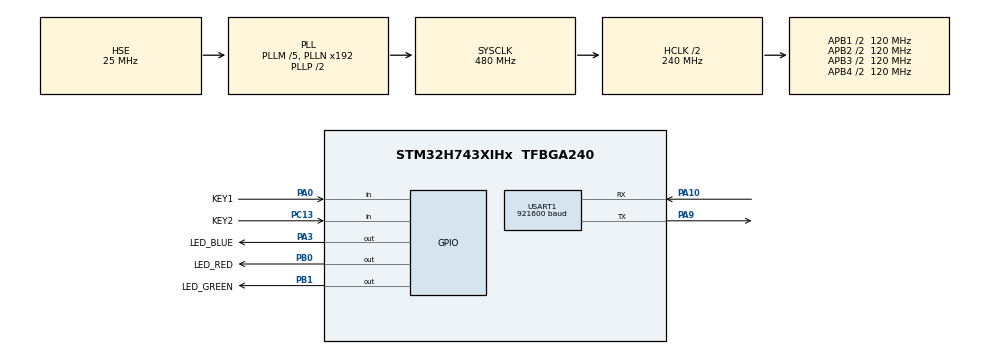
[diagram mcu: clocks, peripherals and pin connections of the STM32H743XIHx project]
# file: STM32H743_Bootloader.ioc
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CORTEX_M7.default_mode_Activation=0
CRC.DefaultInitValueUse=DEFAULT_INIT_VALUE_DISABLE
CRC.DefaultPolynomialUse=DEFAULT_POLYNOMIAL_DISABLE
CRC.InitValue=0xFFFFFFFF
CRC.InputDataFormat=CRC_INPUTDATA_FORMAT_WORDS
CRC.InputDataInversionMode=CRC_INPUTDATA_INVERSION_NONE
CRC.OutputDataInversionMode=CRC_OUTPUTDATA_INVERSION_DISABLE
FREERTOS.Tasks01=taskDefault,0,128,TaskDefault,Default,NULL,Dynamic,NULL,NULL;taskIAP,-2,1024,TaskIAP,Default,NULL,Dynamic,NULL,NULL;taskKEY1,-3,128,TaskKEY1,Default,NULL,Dynamic,NULL,NULL
FREERTOS.configENABLE_FPU=1
Mcu.Family=STM32H7
Mcu.Name=STM32H743XIHx
Mcu.Package=TFBGA240
NVIC.PriorityGroup=NVIC_PRIORITYGROUP_4
NVIC.TIM6_DAC_IRQn=true\:15\:0\:false\:false\:true\:false\:false\:true\:true
NVIC.TimeBase=TIM6_DAC_IRQn
NVIC.TimeBaseIP=TIM6
PA0.GPIO_Label=KEY1
PA0.Signal=GPIO_Input
PA10.Mode=Asynchronous
PA10.Signal=USART1_RX
PA13\ (JTMS/SWDIO).Mode=Serial_Wire
PA13\ (JTMS/SWDIO).Signal=DEBUG_JTMS-SWDIO
PA14\ (JTCK/SWCLK).Mode=Serial_Wire
PA14\ (JTCK/SWCLK).Signal=DEBUG_JTCK-SWCLK
PA3.GPIO_Label=LED_BLUE
PA3.GPIO_PuPd=GPIO_PULLUP
PA3.PinState=GPIO_PIN_SET
PA3.Signal=GPIO_Output
PA9.Mode=Asynchronous
PA9.Signal=USART1_TX
PB0.GPIO_Label=LED_RED
PB0.GPIO_PuPd=GPIO_PULLUP
PB0.PinState=GPIO_PIN_SET
PB0.Signal=GPIO_Output
PB1.GPIO_Label=LED_GREEN
PB1.GPIO_PuPd=GPIO_PULLUP
PB1.PinState=GPIO_PIN_SET
PB1.Signal=GPIO_Output
PB14.Signal=USB_OTG_HS_DM
PB15.Signal=USB_OTG_HS_DP
PC13.GPIO_Label=KEY2
PC13.Signal=GPIO_Input
PH0-OSC_IN\ (PH0).Mode=HSE-External-Oscillator
PH0-OSC_IN\ (PH0).Signal=RCC_OSC_IN
PH1-OSC_OUT\ (PH1).Mode=HSE-External-Oscillator
PH1-OSC_OUT\ (PH1).Signal=RCC_OSC_OUT
ProjectManager.HeapSize=0x2000
ProjectManager.StackSize=0x4000
ProjectManager.TargetToolchain=EWARM V8.50
RCC.ADCFreq_Value=50390625
RCC.APB1Freq_Value=120000000
RCC.APB2Freq_Value=120000000
RCC.APB3Freq_Value=120000000
RCC.APB4Freq_Value=120000000
RCC.CortexFreq_Value=480000000
RCC.D1PPRE=RCC_APB3_DIV2
RCC.D2PPRE1=RCC_APB1_DIV2
RCC.D2PPRE2=RCC_APB2_DIV2
RCC.D3PPRE=RCC_APB4_DIV2
RCC.DIVM1=5
RCC.DIVN1=192
RCC.HCLKFreq_Value=240000000
RCC.HPRE=RCC_HCLK_DIV2
RCC.PLLFRACN=0
RCC.PLLSourceVirtual=RCC_PLLSOURCE_HSE
RCC.SYSCLKFreq_VALUE=480000000
RCC.SYSCLKSource=RCC_SYSCLKSOURCE_PLLCLK
RCC.USBCLockSelection=RCC_USBCLKSOURCE_HSI48
RCC.USBFreq_Value=48000000
USART1.BaudRate=921600
USART1.VirtualMode-Asynchronous=VM_ASYNC
VP_CRC_VS_CRC.Mode=CRC_Activate
VP_FREERTOS_VS_CMSIS_V1.Mode=CMSIS_V1
VP_SYS_VS_tim6.Mode=TIM6
board=custom

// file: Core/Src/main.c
/* USER CODE BEGIN Header */
/**
 ******************************************************************************
 * @file           : main.c
 * @brief          : Main program body
 ******************************************************************************
 * @attention
 *
 * Copyright (c) 2024 STMicroelectronics.
 * All rights reserved.
 *
 * This software is licensed under terms that can be found in the LICENSE file
 * in the root directory of this software component.
 * If no LICENSE file comes with this software, it is provided AS-IS.
 *
 ******************************************************************************
 */
/* USER CODE END Header */
#include "main.h"
#include "cmsis_os.h"
#include "crc.h"
#include "usart.h"
#include "gpio.h"

/* USER CODE BEGIN Includes */
#include "Bootloader.h"
/* USER CODE END Includes */

void SystemClock_Config(void);
void MX_FREERTOS_Init(void);

int main(void)
{
  /* USER CODE BEGIN 1 */
  SCB->VTOR=FLASH_BASE|0x08000000;
  /* USER CODE END 1 */

  /* MCU Configuration--------------------------------------------------------*/

  /* Reset of all peripherals, Initializes the Flash interface and the Systick. */
  HAL_Init();

  /* Configure the system clock */
  SystemClock_Config();

  /* Initialize all configured peripherals */
  MX_GPIO_Init();
  MX_CRC_Init();
  MX_USART1_UART_Init();
  /* USER CODE BEGIN 2 */
    BootRun();
    /*
    for (uint8_t i = 0; i < 8; i++)
    {
        Ymodem_FlashErase(0x08100000+ i * 0x10000);
    }
    */
    // uint8_t flashdata[]="abcdefg";
    // Ymodem_FlashErase(0x08100000);
    // Ymodem_FlashWrite(0x08100000, flashdata, sizeof(flashdata));

  /* USER CODE END 2 */

  /* Call init function for freertos objects (in freertos.c) */
  MX_FREERTOS_Init();

  /* Start scheduler */
  osKernelStart();

  /* We should never get here as control is now taken by the scheduler */
  /* Infinite loop */
    while (1)
    {

    }
}

void SystemClock_Config(void)
{
  RCC_OscInitTypeDef RCC_OscInitStruct = {0};
  RCC_ClkInitTypeDef RCC_ClkInitStruct = {0};

  /** Supply configuration update enable
  */
  HAL_PWREx_ConfigSupply(PWR_LDO_SUPPLY);

  /** Configure the main internal regulator output voltage
  */
  __HAL_PWR_VOLTAGESCALING_CONFIG(PWR_REGULATOR_VOLTAGE_SCALE1);

  while(!__HAL_PWR_GET_FLAG(PWR_FLAG_VOSRDY)) {}

  __HAL_RCC_SYSCFG_CLK_ENABLE();
  __HAL_PWR_VOLTAGESCALING_CONFIG(PWR_REGULATOR_VOLTAGE_SCALE0);

  while(!__HAL_PWR_GET_FLAG(PWR_FLAG_VOSRDY)) {}

  /** Initializes the RCC Oscillators according to the specified parameters
  * in the RCC_OscInitTypeDef structure.
  */
  RCC_OscInitStruct.OscillatorType = RCC_OSCILLATORTYPE_HSE;
  RCC_OscInitStruct.HSEState = RCC_HSE_ON;
  RCC_OscInitStruct.PLL.PLLState = RCC_PLL_ON;
  RCC_OscInitStruct.PLL.PLLSource = RCC_PLLSOURCE_HSE;
  RCC_OscInitStruct.PLL.PLLM = 5;
  RCC_OscInitStruct.PLL.PLLN = 192;
  RCC_OscInitStruct.PLL.PLLP = 2;
  RCC_OscInitStruct.PLL.PLLQ = 2;
  RCC_OscInitStruct.PLL.PLLR = 2;
  RCC_OscInitStruct.PLL.PLLRGE = RCC_PLL1VCIRANGE_2;
  RCC_OscInitStruct.PLL.PLLVCOSEL = RCC_PLL1VCOWIDE;
  RCC_OscInitStruct.PLL.PLLFRACN = 0;
  if (HAL_RCC_OscConfig(&RCC_OscInitStruct) != HAL_OK)
  {
    Error_Handler();
  }

  /** Initializes the CPU, AHB and APB buses clocks
  */
  RCC_ClkInitStruct.ClockType = RCC_CLOCKTYPE_HCLK|RCC_CLOCKTYPE_SYSCLK
                              |RCC_CLOCKTYPE_PCLK1|RCC_CLOCKTYPE_PCLK2
                              |RCC_CLOCKTYPE_D3PCLK1|RCC_CLOCKTYPE_D1PCLK1;
  RCC_ClkInitStruct.SYSCLKSource = RCC_SYSCLKSOURCE_PLLCLK;
  RCC_ClkInitStruct.SYSCLKDivider = RCC_SYSCLK_DIV1;
  RCC_ClkInitStruct.AHBCLKDivider = RCC_HCLK_DIV2;
  RCC_ClkInitStruct.APB3CLKDivider = RCC_APB3_DIV2;
  RCC_ClkInitStruct.APB1CLKDivider = RCC_APB1_DIV2;
  RCC_ClkInitStruct.APB2CLKDivider = RCC_APB2_DIV2;
  RCC_ClkInitStruct.APB4CLKDivider = RCC_APB4_DIV2;

  if (HAL_RCC_ClockConfig(&RCC_ClkInitStruct, FLASH_LATENCY_4) != HAL_OK)
  {
    Error_Handler();
  }
}

void HAL_TIM_PeriodElapsedCallback(TIM_HandleTypeDef *htim)
{
  if (htim->Instance == TIM6) {
    HAL_IncTick();
  }
}

void Error_Handler(void)
{
    __disable_irq();
    while (1)
    {
    }
}

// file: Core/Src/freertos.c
/* USER CODE BEGIN Header */
/**
 ******************************************************************************
 * File Name          : freertos.c
 * Description        : Code for freertos applications
 ******************************************************************************
 * @attention
 *
 * Copyright (c) 2024 STMicroelectronics.
 * All rights reserved.
 *
 * This software is licensed under terms that can be found in the LICENSE file
 * in the root directory of this software component.
 * If no LICENSE file comes with this software, it is provided AS-IS.
 *
 ******************************************************************************
 */
/* USER CODE END Header */

#include "FreeRTOS.h"
#include "task.h"
#include "main.h"
#include "cmsis_os.h"

/* USER CODE BEGIN Includes */
#include "gpio.h"
#include "usart.h"
#include "stdio.h"
#include "stdlib.h"
#include "string.h"

#include "ymodem.h"
#include "Bootloader.h"
/* USER CODE END Includes */

/* USER CODE BEGIN PTD */

#define B 1
#define R 0
#define LED R
/* USER CODE END PTD */

osThreadId taskDefaultHandle;
osThreadId taskIAPHandle;
osThreadId taskKEY1Handle;

void TaskDefault(void const *argument);
void TaskIAP(void const *argument);
void TaskKEY1(void const *argument);

void MX_FREERTOS_Init(void); /* (MISRA C 2004 rule 8.1) */

/* GetIdleTaskMemory prototype (linked to static allocation support) */
void vApplicationGetIdleTaskMemory(StaticTask_t **ppxIdleTaskTCBBuffer, StackType_t **ppxIdleTaskStackBuffer, uint32_t *pulIdleTaskStackSize);

/* USER CODE BEGIN GET_IDLE_TASK_MEMORY */
static StaticTask_t xIdleTaskTCBBuffer;
static StackType_t xIdleStack[configMINIMAL_STACK_SIZE];

void vApplicationGetIdleTaskMemory(StaticTask_t **ppxIdleTaskTCBBuffer, StackType_t **ppxIdleTaskStackBuffer, uint32_t *pulIdleTaskStackSize)
{
    *ppxIdleTaskTCBBuffer = &xIdleTaskTCBBuffer;
    *ppxIdleTaskStackBuffer = &xIdleStack[0];
    *pulIdleTaskStackSize = configMINIMAL_STACK_SIZE;
    /* place for user code */
}
/* USER CODE END GET_IDLE_TASK_MEMORY */

void MX_FREERTOS_Init(void)
{

    /* Create the thread(s) */
    /* definition and creation of taskDefault */
    osThreadDef(taskDefault, TaskDefault, osPriorityNormal, 0, 128);
    taskDefaultHandle = osThreadCreate(osThread(taskDefault), NULL);

    /* definition and creation of taskIAP */
    osThreadDef(taskIAP, TaskIAP, osPriorityLow, 0, 1024);
    taskIAPHandle = osThreadCreate(osThread(taskIAP), NULL);

    /* definition and creation of taskKEY1 */
    osThreadDef(taskKEY1, TaskKEY1, osPriorityIdle, 0, 128);
    taskKEY1Handle = osThreadCreate(osThread(taskKEY1), NULL);

}

void TaskDefault(void const *argument)
{
    /* USER CODE BEGIN TaskDefault */
    /* Infinite loop */
    for (;;)
    {
        if (LED == B)
        {
            HAL_GPIO_TogglePin(LED_BLUE_GPIO_Port, LED_BLUE_Pin);
        }
        else
        {
            HAL_GPIO_TogglePin(LED_RED_GPIO_Port, LED_RED_Pin);
        }
        osDelay(500);
    }
    /* USER CODE END TaskDefault */
}

/* USER CODE END Header_TaskIAP */
void TaskIAP(void const *argument)
{
    /* USER CODE BEGIN TaskIAP */
    BaseType_t xResult;
    uint32_t ulValue;
    /* Infinite loop */
    for (;;)
    {
        xResult = xTaskNotifyWait(0, 0, &ulValue, portMAX_DELAY);
        if (xResult == pdPASS)
        {
            uint8_t YmodemState = Ymodem_ReceiveFile(YMODEM_STATE_IDLE);
            while (1)
            {
                if (YmodemState == YMODEM_STATE_RECEIVE_FINISH)
                {
                    if (CheckAppCRC(APP_START_ADDRESS, APP_MAX_SIZE, APP_CRC_ADDRESS) == CRC_SUCCESS)
                    {
                        SwapBank(2);
                    }
                    else
                    {
                        // TODO:接收错误
                    }
                    break;
                }
                else if (YmodemState == YMODEM_STATE_ERROR)
                {
                    // TODO:升级失败
                    break;
                }
                YmodemState = Ymodem_ReceiveFile(YmodemState);
            }
        }
        osDelay(10);
    }
    /* USER CODE END TaskIAP */
}

void TaskKEY1(void const *argument)
{
    /* USER CODE BEGIN TaskKEY1 */
    /* Infinite loop */
    for (;;)
    {
        if (HAL_GPIO_ReadPin(KEY1_GPIO_Port, KEY1_Pin) == GPIO_PIN_RESET)
        {
            while ((HAL_GPIO_ReadPin(KEY1_GPIO_Port, KEY1_Pin) == GPIO_PIN_RESET))
            {
                osDelay(10);
            }
            xTaskNotifyFromISR(taskIAPHandle, pdPASS, eSetValueWithoutOverwrite, NULL);
        }
        osDelay(10);
    }
    /* USER CODE END TaskKEY1 */
}
